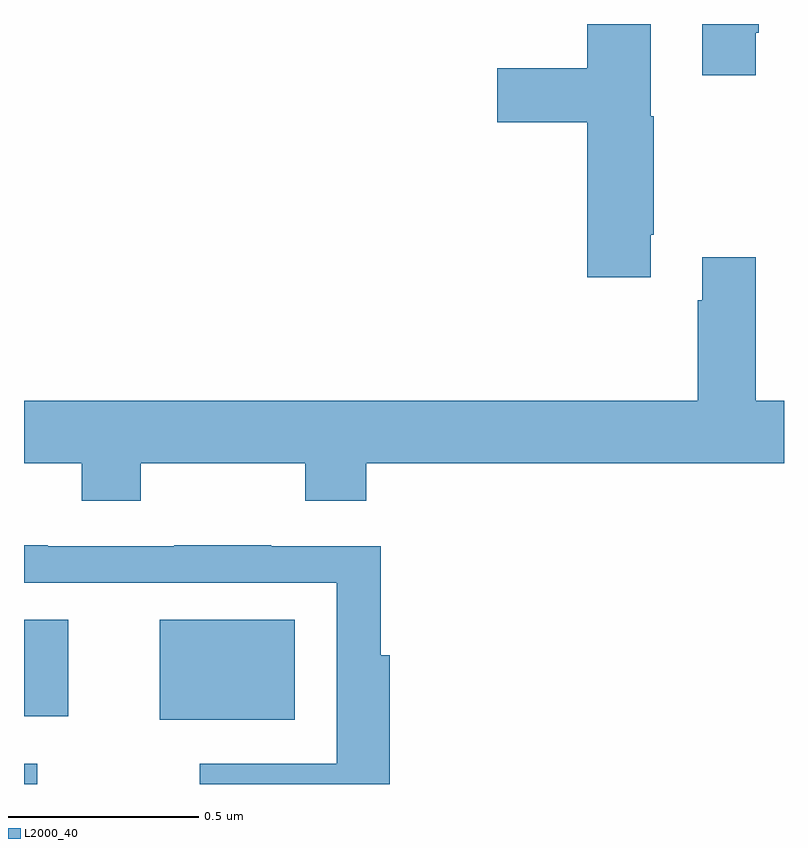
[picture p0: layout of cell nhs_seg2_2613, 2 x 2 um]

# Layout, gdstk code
import gdstk
lib = gdstk.Library(unit=1e-6, precision=1e-09)
def R(c, l, rs):  # rectangles x0, y0, x1, y1
    for r in rs: c.add(gdstk.rectangle(r[:2], r[2:], *l))
def P(c, l, *ps):  # polygons
    for p in ps: c.add(gdstk.Polygon(p, *l))
L2000_40 = (2000, 40)

nhs_seg2_2613 = lib.new_cell('nhs_seg2_2613')
R(nhs_seg2_2613, L2000_40, [(143,638.8,143.035,638.853), (143.357,638.969,143.713,639.232), (143,638.978,143.116,639.232)])
P(nhs_seg2_2613, L2000_40, [(144.925,640.777),(144.933,640.777),(144.933,640.8),(144.785,640.8),(144.785,640.665),(144.925,640.665)],
  [(144.649,640.246),(144.657,640.246),(144.657,640.557),(144.649,640.557),(144.649,640.8),(144.482,640.8),(144.482,640.683),(144.246,640.683),(144.246,640.541),(144.482,640.541),(144.482,640.134),(144.649,640.134)],
  [(143.307,639.644),(143.74,639.644),(143.74,639.545),(143.9,639.545),(143.9,639.644),(145,639.644),(145,639.808),(144.925,639.808),(144.925,640.186),(144.785,640.186),(144.785,640.073),(144.773,640.073),(144.773,639.808),(143,639.808),(143,639.644),(143.152,639.644),(143.152,639.545),(143.307,639.545)],
  [(143.963,639.139),(143.939,639.139),(143.939,639.426),(143.651,639.426),(143.651,639.428),(143.395,639.428),(143.395,639.426),(143.063,639.426),(143.063,639.428),(143,639.428),(143,639.33),(143.823,639.33),(143.823,638.853),(143.463,638.853),(143.463,638.8),(143.963,638.8)])

lib.write_gds('nhs_seg2_2613.gds')
